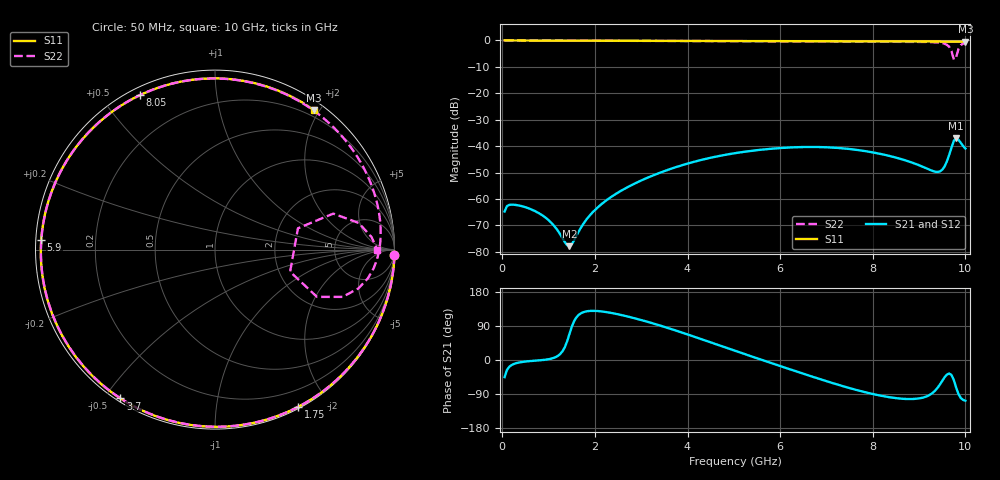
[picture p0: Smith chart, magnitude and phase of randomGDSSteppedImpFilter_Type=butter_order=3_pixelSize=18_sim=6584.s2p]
! freq	dB(S11)	phase(S11)	dB(S12)	phase(S12)
!  dB(S21)	phase(S21)	dB(S22)	phase(S22)
!S-par simulation data
#  GHz  S  DB  R 50
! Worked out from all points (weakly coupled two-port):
!   200 points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, 50 MHz to 10 GHz, reference 50 ohm
!   highest |S21| = -36.95 dB at 9.8 GHz (marker M1); lowest = -77.8 dB at 1.45 GHz (marker M2)
!   lowest |S11| = -0.4 dB at 10 GHz (marker M3), VSWR 41.17, Z = 5.73 + j96.2 ohm
!   |S11| at or under -10 dB: nowhere
!   |S22| runs from -7.2 to 0.0 dB; largest |S21 - S12| = 0
!   S11 on the Smith chart (normalised r, x): 50 MHz: 0, -62; 1.75 GHz: 0.02, -1.66; 3.7 GHz: 0.01, -0.55; 5.9 GHz: 0.02, +0.03; 8.05 GHz: 0.03, +0.63; 10 GHz: 0.11, +1.92
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0.05  -0.00 -1.8  -64.73 -45.2  -64.73 -45.2  -0.00 -1.8
0.2  -0.00 -7.3  -62.14 -13.4  -62.14 -13.4  -0.00 -7.4
0.75  -0.03 -27.3  -64.96 -1.4  -64.96 -1.4  -0.03 -27.4
1.45  -0.06 -51.9  -77.84 68.7  -77.84 68.7  -0.07 -52.5
1.75  -0.08 -62.0  -69.41 126.2  -69.41 126.2  -0.08 -63.0
2.35  -0.10 -81.6  -59.23 124.3  -59.23 124.3  -0.11 -83.8
3.4  -0.14 -113.7  -50.08 91.2  -50.08 91.2  -0.16 -119.5
3.7  -0.15 -122.4  -48.22 79.6  -48.22 79.6  -0.17 -129.7
5.05  -0.22 -160.0  -42.58 23.3  -42.58 23.3  -0.26 -176.6
5.9  -0.27 176.9  -40.85 -11.9  -40.85 -11.9  -0.32 151.6
6.7  -0.31 154.9  -40.31 -44.2  -40.31 -44.2  -0.38 119.4
7.4  -0.35 135.0  -40.90 -70.7  -40.90 -70.7  -0.41 89.6
8.05  -0.38 115.8  -42.53 -91.1  -42.53 -91.1  -0.44 61.1
8.35  -0.39 106.7  -43.66 -98.0  -43.66 -98.0  -0.45 47.9
8.95  -0.41 88.1  -46.87 -102.1  -46.87 -102.1  -0.51 21.5
9.45  -0.42 72.3  -49.57 -64.7  -49.57 -64.7  -0.87 -3.4
9.6  -0.42 67.5  -45.78 -38.6  -45.78 -38.6  -1.64 -15.1
9.7  -0.42 64.3  -40.52 -39.5  -40.52 -39.5  -4.06 -24.9
9.75  -0.42 62.7  -38.02 -52.7  -38.02 -52.7  -7.21 -16.4
9.8  -0.42 61.1  -36.95 -72.6  -36.95 -72.6  -6.43 14.4
9.9  -0.42 58.0  -38.75 -100.0  -38.75 -100.0  -1.79 10.5
10  -0.42 54.8  -40.88 -107.5  -40.88 -107.5  -0.86 -0.1
